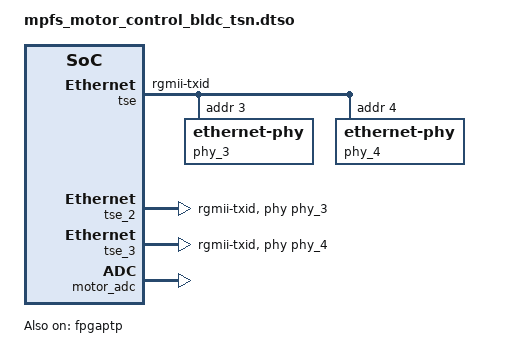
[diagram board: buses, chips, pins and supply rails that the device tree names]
// SPDX-License-Identifier: (GPL-2.0+ OR MIT)
/*
 * Device Tree Overlay for MPFS Motor Control Kit - BLDC
 *
 * Copyright (C) 2026 Microchip Technology Inc. and its subsidiaries.
 * Author: Sunny Bezawada <sunny.bezawada@microchip.com>
 *
 */

/dts-v1/;
/plugin/;

/ {
	compatible = "microchip,mpfs-motor-control-kit","microchip,mpfs";
};

&{/} {
	#address-cells = <2>;
	#size-cells = <2>;

	ptpclk: ptp-clk {
		compatible = "fixed-clock";
		#clock-cells = <0>;
		clock-frequency = <125000000>;
	};

	fpgaptp: uio@38040000 {
		compatible = "generic-uio";
		reg = <0x0 0x38040000 0x0 0x1000>;
		linux,uio-name = "mchp_pi";
		status = "okay";
	};

	tsnclk: tsn-clk {
		compatible = "fixed-clock";
		#clock-cells = <0>;
		clock-frequency = <125000000>;
	};

	tsncfgclk: tsn-cfg-clk {
		compatible = "fixed-clock";
		#clock-cells = <0>;
		clock-frequency = <50000000>;
	};
};

&fabric_bus {
	#address-cells = <2>;
	#size-cells = <2>;

	core1588: ptp@40002000 {
		compatible = "microchip,core1588-rtl-v3";
		reg = <0x0 0x40002000 0x0 0x1000>;
		clocks = <&ptpclk>;
		clock-names = "tsu";
		status = "okay";
	};

	tse: ethernet@40001000 {
		compatible = "microchip,coretse-rtl-v3";
		reg = <0x0 0x40001000 0x0 0x1000>;
		pcdma-connected = <&pcdma>;
		#address-cells = <1>;
		#size-cells = <0>;
		local-mac-address = [00 04 a3 7a 0c 09];
		clocks = <&clkcfg 30>, <&clkcfg 27>;
		clock-names = "pclk", "pcdma";
		interrupt-parent = <&plic>;
		interrupts = <128>, <130>;
		interrupt-names = "mm2s_pcdma", "s2mm_pcdma";
		status = "okay";
		microchip,phy-null;
		microchip,core1588-ptp-handle = <&core1588>;

		phy-mode = "rgmii-txid";
		phy_3: ethernet-phy@3 {
			reg = <0x3>;
		};

		phy_4: ethernet-phy@4 {
			reg = <0x4>;
		};
	};

	pcdma: pcdma@60020000 {
		reg = <0x00 0x60020000 0x00 0x1000>;
	};

	tse_2: ethernet_port1@40003000 {
		compatible = "microchip,coretse-rtl-v3";
		reg = <0x0 0x40003000 0x0 0x1000>;
		pcdma-connected = <&pcdma1>;
		#address-cells = <1>;
		#size-cells = <0>;
		local-mac-address = [00 04 a3 7a 05 07];
		clocks = <&clkcfg 30>, <&clkcfg 27>;
		clock-names = "pclk", "pcdma";
		interrupt-parent = <&plic>;
		interrupts = <132>, <133>;
		interrupt-names = "mm2s_pcdma", "s2mm_pcdma";
		status = "okay";

		phy-mode = "rgmii-txid";
		phy-handle = <&phy_3>;
	};

	pcdma1: pcdma1@40004000 {
		reg = <0x00 0x40004000 0x00 0x1000>;
	};

	tse_3: ethernet_port2@40005000 {
		compatible = "microchip,coretse-rtl-v3";
		reg = <0x0 0x40005000 0x0 0x1000>;
		pcdma-connected = <&pcdma2>;
		#address-cells = <1>;
		#size-cells = <0>;
		local-mac-address = [00 04 a3 7a 05 08];
		clocks = <&clkcfg 30>, <&clkcfg 27>;
		clock-names = "pclk", "pcdma";
		interrupt-parent = <&plic>;
		interrupts = <131>, <134>;
		interrupt-names = "mm2s_pcdma", "s2mm_pcdma";
		status = "okay";

		phy-mode = "rgmii-txid";
		phy-handle = <&phy_4>;
	};

	pcdma2: pcdma2@40006000 {
		reg = <0x00 0x40006000 0x00 0x1000>;
	};

	tsn: tsn@40000000 {
		compatible = "microchip,coretsn-rtl-v3";
		reg = <0x0 0x40000000 0x0 0x1000>;
		clocks = <&tsncfgclk>, <&tsnclk>;
		clock-names = "apb", "core";
		status = "okay";
	};

	motor_adc: motor_adc@60000000 {
		compatible = "motor_adc";

		adc-scaling@60000000 {
			compatible = "microchip,adc-scaling-rtl-v4.3";
			reg = <0x0 0x60000000 0x0 0x1000>;
			status = "okay";
		};

		pwm3ph@60001000 {
			compatible = "microchip,pwm3ph-rtl-v4.2";
			reg = <0x0 0x60001000 0x0 0x1000>;
			status = "okay";
		};

		speed-id-iq-pi@60002000 {
			compatible = "microchip,speed-id-iq-pi-rtl-v4.2";
			reg = <0x0 0x60002000 0x0 0x1000>;
			status = "okay";
		};

		seq-controller@60003000 {
			compatible = "microchip,seq-controller-rtl-v4.2";
			reg = <0x0 0x60003000 0x0 0x1000>;
			status = "okay";
		};

		rate-limiter@60004000 {
			compatible = "microchip,rate-limiter-rtl-v4.2";
			reg = <0x0 0x60004000 0x0 0x1000>;
			status = "okay";
		};

		stepper-theta@60010000 {
			compatible = "microchip,stepper-theta-rtl-v4.2";
			reg = <0x0 0x60010000 0x0 0x1000>;
			status = "okay";
		};
	};
};
